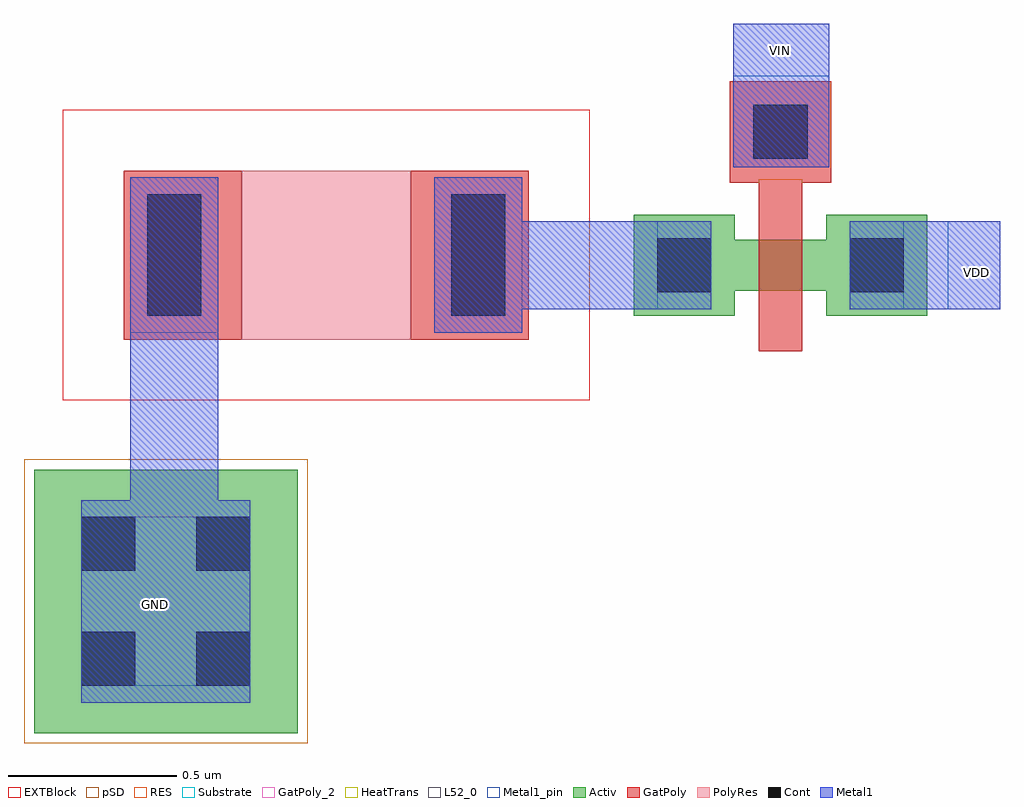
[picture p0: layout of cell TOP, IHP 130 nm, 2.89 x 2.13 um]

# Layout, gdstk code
from math import pi, radians
import gdstk
lib = gdstk.Library(unit=1e-6, precision=1e-09)
def R(c, l, rs):  # rectangles x0, y0, x1, y1
    for r in rs: c.add(gdstk.rectangle(r[:2], r[2:], *l))
Activ = (1, 0)
GatPoly = (5, 0)
GatPoly_2 = (5, 2)
Cont = (6, 0)
Metal1 = (8, 0)
Metal1_pin = (8, 2)
pSD = (14, 0)
RES = (24, 0)
Substrate = (40, 0)
HeatTrans = (51, 0)
L52_0 = (52, 0)
EXTBlock = (111, 0)
PolyRes = (128, 0)

ptap1 = lib.new_cell('ptap1')
R(ptap1, Activ, [(0,0,0.78,0.78)])
R(ptap1, Cont, [(0.14,0.14,0.3,0.3), (0.48,0.14,0.64,0.3), (0.14,0.48,0.3,0.64), (0.48,0.48,0.64,0.64)])
R(ptap1, Metal1, [(0.14,0.09,0.64,0.69), (0.14,0.14,0.64,0.64)])
R(ptap1, Metal1_pin, [(0.14,0.14,0.64,0.64)])
R(ptap1, pSD, [(-0.03,-0.03,0.81,0.81)])
R(ptap1, Substrate, [(0,0,0.78,0.78)])
ptap1.add(gdstk.Label('sub!', (0.39,0.01), layer=63, texttype=0))
ptap1.add(gdstk.Label('sub!', (0.39,0.01), layer=40, texttype=0))

nmos = lib.new_cell('nmos')
R(nmos, Activ, [(0,0,0.3,0.3), (0.57,0,0.87,0.3), (0,0.075,0.87,0.225)])
R(nmos, GatPoly, [(0.37,-0.105,0.5,0.405)])
R(nmos, GatPoly_2, [(0.37,-0.105,0.5,0.405)])
R(nmos, Cont, [(0.07,0.07,0.23,0.23), (0.64,0.07,0.8,0.23)])
R(nmos, Metal1, [(0.07,0.02,0.23,0.28), (0.64,0.02,0.8,0.28)])
R(nmos, Metal1_pin, [(0.07,0.02,0.23,0.28), (0.64,0.02,0.8,0.28)])
R(nmos, HeatTrans, [(0.37,-0.105,0.5,0.405)])
nmos.add(gdstk.Label('nmos', (0.435,0.15), layer=63, texttype=0))
nmos.add(gdstk.Label('nmos', (0.435,0.15), layer=51, texttype=0))

rsil = lib.new_cell('rsil')
R(rsil, GatPoly, [(0,-0.35,0.5,0), (0,0.5,0.5,0.85)])
R(rsil, Cont, [(0.07,-0.28,0.43,-0.12), (0.07,0.62,0.43,0.78)])
R(rsil, Metal1, [(0.02,-0.33,0.48,-0.07), (0.02,0.57,0.48,0.83)])
R(rsil, Metal1_pin, [(0.02,-0.33,0.48,-0.07), (0.02,0.57,0.48,0.83)])
R(rsil, RES, [(0,0,0.5,0.5)])
R(rsil, L52_0, [(0,0,0.5,0.5)])
R(rsil, EXTBlock, [(-0.18,-0.53,0.68,0), (-0.18,0,0.68,0.5), (-0.18,0,0.68,1.03)])
R(rsil, PolyRes, [(0,0,0.5,0.5)])
rsil.add(gdstk.Label('rsil r=24.9', (0.25,0.25), layer=63, texttype=0))
rsil.add(gdstk.Label('rsil', (0.25,0.25), layer=52, texttype=0))

top = lib.new_cell('TOP')
R(top, GatPoly, [(1.35,0.715,1.65,1.015)])
R(top, Cont, [(1.42,0.785,1.58,0.945)])
R(top, Metal1, [(-0.425,-0.455,-0.165,0.505), (0.615,0.34,1.135,0.6), (1.705,0.34,2.15,0.6), (1.36,0.76,1.645,1.185)])
R(top, Metal1_pin, [(1.995,0.34,2.15,0.6), (1.36,1.03,1.645,1.185)])
top.add(gdstk.Reference(ptap1, (-0.71,-0.915)))
top.add(gdstk.Reference(nmos, (1.065,0.32)))
top.add(gdstk.Reference(rsil, (0.405,0.25), rotation=pi/2))
top.add(gdstk.Label('VDD', (2.08,0.45), layer=8, texttype=2))
top.add(gdstk.Label('VIN', (1.5,1.105), layer=8, texttype=2))
top.add(gdstk.Label('GND', (-0.35,-0.535), layer=8, texttype=2))

lib.write_gds('TOP.gds')
